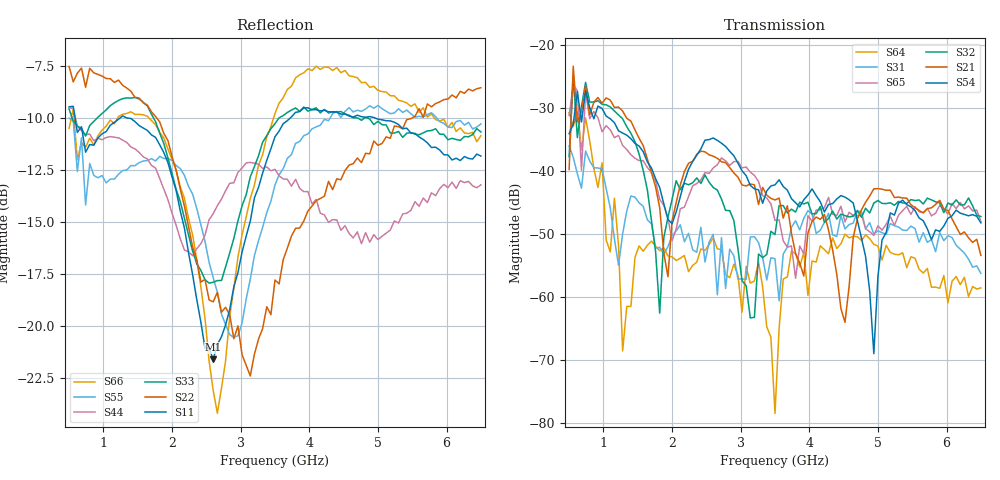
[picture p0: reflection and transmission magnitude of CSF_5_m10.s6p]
!Keysight Technologies,M9804A,MY58100912,A.14.10.03
!Date: Thursday, April 27, 2023 10:28:33
!Correction: S11(C  6-Port  )
!S12(C  6-Port  )
!S13(C  6-Port  )
!S14(C  6-Port  )
!S15(C  6-Port  )
!S16(C  6-Port  )
!S21(C  6-Port  )
!S22(C  6-Port  )
!S23(C  6-Port  )
!S24(C  6-Port  )
!S25(C  6-Port  )
!S26(C  6-Port  )
!S31(C  6-Port  )
!S32(C  6-Port  )
!S33(C  6-Port  )
!S34(C  6-Port  )
!S35(C  6-Port  )
!S36(C  6-Port  )
!S41(C  6-Port  )
!S42(C  6-Port  )
!S43(C  6-Port  )
!S44(C  6-Port  )
!S45(C  6-Port  )
!S46(C  6-Port  )
!S51(C  6-Port  )
!S52(C  6-Port  )
!S53(C  6-Port  )
!S54(C  6-Port  )
!S55(C  6-Port  )
!S56(C  6-Port  )
!S61(C  6-Port  )
!S62(C  6-Port  )
!S63(C  6-Port  )
!S64(C  6-Port  )
!S65(C  6-Port  )
!S66(C  6-Port  )
!S6P File: Measurement: :
# Hz S  RI  R 50
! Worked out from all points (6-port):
!   101 points, 500 MHz to 6.5 GHz, reference 50 ohm
!   strongest paths, dB at 500 MHz, 2 GHz, 3.5 GHz, 5 GHz, 6.5 GHz:
!     S54: -34.0, -48.3, -42.2, -56.7, -48.2
!     S21: -39.7, -47.9, -44.6, -42.8, -53.4
!     S32: -37.7, -44.5, -50.1, -44.7, -47.2
!     S65: -31.1, -51.1, -47.8, -48.7, -47.9
!     S31: -36.0, -50.2, -53.9, -49.5, -56.2
!     S64: -30.7, -53.6, -78.5, -51.9, -58.5
!   lowest |S11| = -21.6 dB at 2.6 GHz (marker M1), VSWR 1.18, Z = 42.6 + j2.06 ohm
!   |S11| at or under -10 dB: 587.8 MHz to 1.235 GHz (647.7 MHz wide, 71.1 % of centre); 1.389 GHz to 3.716 GHz (2.327 GHz wide, 91.2 % of centre); 4.971 GHz to end of sweep
